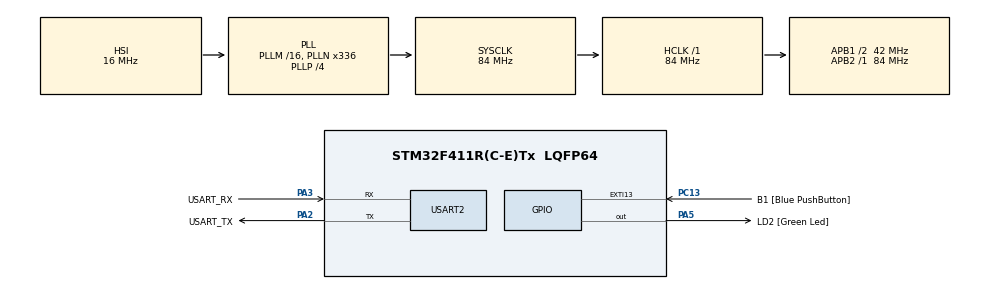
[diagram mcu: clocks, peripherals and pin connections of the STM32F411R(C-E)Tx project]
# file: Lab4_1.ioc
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FREERTOS.Tasks01=firstTask,24,128,StartFirstTask,Default,NULL,Dynamic,NULL,NULL
FREERTOS.configUSE_TIMERS=1
Mcu.Family=STM32F4
Mcu.Name=STM32F411R(C-E)Tx
Mcu.Package=LQFP64
NVIC.PriorityGroup=NVIC_PRIORITYGROUP_4
NVIC.TIM4_IRQn=true\:15\:0\:false\:false\:true\:false\:false\:true
NVIC.TimeBase=TIM4_IRQn
NVIC.TimeBaseIP=TIM4
PA13.GPIO_Label=TMS
PA13.Mode=Serial_Wire
PA13.Signal=SYS_JTMS-SWDIO
PA14.GPIO_Label=TCK
PA14.Mode=Serial_Wire
PA14.Signal=SYS_JTCK-SWCLK
PA2.GPIO_Label=USART_TX
PA2.Mode=Asynchronous
PA2.Signal=USART2_TX
PA3.GPIO_Label=USART_RX
PA3.Mode=Asynchronous
PA3.Signal=USART2_RX
PA5.GPIO_Label=LD2 [Green Led]
PA5.Signal=GPIO_Output
PB3.GPIO_Label=SWO
PB3.Signal=SYS_JTDO-SWO
PC13-ANTI_TAMP.GPIO_Label=B1 [Blue PushButton]
PC13-ANTI_TAMP.GPIO_ModeDefaultEXTI=GPIO_MODE_IT_FALLING
PC13-ANTI_TAMP.Signal=GPXTI13
PC14-OSC32_IN.Mode=LSE-External-Oscillator
PC14-OSC32_IN.Signal=RCC_OSC32_IN
PC15-OSC32_OUT.Mode=LSE-External-Oscillator
PC15-OSC32_OUT.Signal=RCC_OSC32_OUT
PH0\ -\ OSC_IN.Mode=HSE-External-Clock-Source
PH0\ -\ OSC_IN.Signal=RCC_OSC_IN
PH1\ -\ OSC_OUT.Mode=HSE-External-Clock-Source
PH1\ -\ OSC_OUT.Signal=RCC_OSC_OUT
ProjectManager.HeapSize=0x200
ProjectManager.StackSize=0x400
ProjectManager.TargetToolchain=STM32CubeIDE
RCC.48MHZClocksFreq_Value=84000000
RCC.AHBFreq_Value=84000000
RCC.APB1CLKDivider=RCC_HCLK_DIV2
RCC.APB1Freq_Value=42000000
RCC.APB1TimFreq_Value=84000000
RCC.APB2Freq_Value=84000000
RCC.APB2TimFreq_Value=84000000
RCC.CortexFreq_Value=84000000
RCC.FLatency-AdvancedSettings=FLASH_LATENCY_2
RCC.HCLKFreq_Value=84000000
RCC.HSE_VALUE=8000000
RCC.HSI_VALUE=16000000
RCC.PLLN=336
RCC.PLLP=RCC_PLLP_DIV4
RCC.SYSCLKFreq_VALUE=84000000
RCC.SYSCLKSource=RCC_SYSCLKSOURCE_PLLCLK
RCC.VCOOutputFreq_Value=336000000
USART2.VirtualMode=VM_ASYNC
VP_FREERTOS_VS_CMSIS_V2.Mode=CMSIS_V2
VP_SYS_VS_tim4.Mode=TIM4
board=NUCLEO-F411RE

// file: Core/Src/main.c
/* USER CODE BEGIN Header */
/**
 ******************************************************************************
 * @file           : main.c
 * @brief          : Main program body
 ******************************************************************************
 * @attention
 *
 * Copyright (c) 2022 STMicroelectronics.
 * All rights reserved.
 *
 * This software is licensed under terms that can be found in the LICENSE file
 * in the root directory of this software component.
 * If no LICENSE file comes with this software, it is provided AS-IS.
 *
 ******************************************************************************
 */
/* USER CODE END Header */
#include "main.h"
#include "cmsis_os.h"

UART_HandleTypeDef huart2;

/* Definitions for firstTask */
osThreadId_t firstTaskHandle;
const osThreadAttr_t firstTask_attributes = { .name = "firstTask", .stack_size =
		128 * 4, .priority = (osPriority_t) osPriorityNormal, };
/* USER CODE BEGIN PV */
osThreadId_t secondTaskHandle;
osThreadId_t thirdTaskHandle;
void secondTask(void *argument);
void thirdTask(void *argument);
/* USER CODE END PV */

void SystemClock_Config(void);
static void MX_GPIO_Init(void);
static void MX_USART2_UART_Init(void);
void StartFirstTask(void *argument);

int main(void) {

	/* MCU Configuration--------------------------------------------------------*/

	/* Reset of all peripherals, Initializes the Flash interface and the Systick. */
	HAL_Init();

	/* Configure the system clock */
	SystemClock_Config();

	/* Initialize all configured peripherals */
	MX_GPIO_Init();
	MX_USART2_UART_Init();

	/* Init scheduler */
	osKernelInitialize();

	/* Create the thread(s) */
	/* creation of firstTask */
	firstTaskHandle = osThreadNew(StartFirstTask, NULL, &firstTask_attributes);

	/* USER CODE BEGIN RTOS_THREADS */
	/* add threads, ... */
	const osThreadAttr_t secondTask_attributes = { .name = "secondTask",
			.priority = (osPriority_t) osPriorityNormal, .stack_size = 128 };
	secondTaskHandle = osThreadNew(secondTask, NULL, &secondTask_attributes);

	const osThreadAttr_t thirdTask_attributes = { .name = "thirdTask",
			.priority = (osPriority_t) osPriorityNormal, .stack_size = 128 };
	thirdTaskHandle = osThreadNew(thirdTask, NULL, &thirdTask_attributes);

	/* USER CODE END RTOS_THREADS */

	/* Start scheduler */
	osKernelStart();

	/* We should never get here as control is now taken by the scheduler */
	/* Infinite loop */
	while (1) {

	}
}

void SystemClock_Config(void) {
	RCC_OscInitTypeDef RCC_OscInitStruct = { 0 };
	RCC_ClkInitTypeDef RCC_ClkInitStruct = { 0 };

	/** Configure the main internal regulator output voltage
	 */
	__HAL_RCC_PWR_CLK_ENABLE();
	__HAL_PWR_VOLTAGESCALING_CONFIG(PWR_REGULATOR_VOLTAGE_SCALE1);
	/** Initializes the RCC Oscillators according to the specified parameters
	 * in the RCC_OscInitTypeDef structure.
	 */
	RCC_OscInitStruct.OscillatorType = RCC_OSCILLATORTYPE_HSI;
	RCC_OscInitStruct.HSIState = RCC_HSI_ON;
	RCC_OscInitStruct.HSICalibrationValue = RCC_HSICALIBRATION_DEFAULT;
	RCC_OscInitStruct.PLL.PLLState = RCC_PLL_ON;
	RCC_OscInitStruct.PLL.PLLSource = RCC_PLLSOURCE_HSI;
	RCC_OscInitStruct.PLL.PLLM = 16;
	RCC_OscInitStruct.PLL.PLLN = 336;
	RCC_OscInitStruct.PLL.PLLP = RCC_PLLP_DIV4;
	RCC_OscInitStruct.PLL.PLLQ = 4;
	if (HAL_RCC_OscConfig(&RCC_OscInitStruct) != HAL_OK) {
		Error_Handler();
	}
	/** Initializes the CPU, AHB and APB buses clocks
	 */
	RCC_ClkInitStruct.ClockType = RCC_CLOCKTYPE_HCLK | RCC_CLOCKTYPE_SYSCLK
			| RCC_CLOCKTYPE_PCLK1 | RCC_CLOCKTYPE_PCLK2;
	RCC_ClkInitStruct.SYSCLKSource = RCC_SYSCLKSOURCE_PLLCLK;
	RCC_ClkInitStruct.AHBCLKDivider = RCC_SYSCLK_DIV1;
	RCC_ClkInitStruct.APB1CLKDivider = RCC_HCLK_DIV2;
	RCC_ClkInitStruct.APB2CLKDivider = RCC_HCLK_DIV1;

	if (HAL_RCC_ClockConfig(&RCC_ClkInitStruct, FLASH_LATENCY_2) != HAL_OK) {
		Error_Handler();
	}
}

static void MX_USART2_UART_Init(void) {

	huart2.Instance = USART2;
	huart2.Init.BaudRate = 115200;
	huart2.Init.WordLength = UART_WORDLENGTH_8B;
	huart2.Init.StopBits = UART_STOPBITS_1;
	huart2.Init.Parity = UART_PARITY_NONE;
	huart2.Init.Mode = UART_MODE_TX_RX;
	huart2.Init.HwFlowCtl = UART_HWCONTROL_NONE;
	huart2.Init.OverSampling = UART_OVERSAMPLING_16;
	if (HAL_UART_Init(&huart2) != HAL_OK) {
		Error_Handler();
	}

}

static void MX_GPIO_Init(void) {
	GPIO_InitTypeDef GPIO_InitStruct = { 0 };

	/* GPIO Ports Clock Enable */
	__HAL_RCC_GPIOC_CLK_ENABLE();
	__HAL_RCC_GPIOH_CLK_ENABLE();
	__HAL_RCC_GPIOA_CLK_ENABLE();
	__HAL_RCC_GPIOB_CLK_ENABLE();

	/*Configure GPIO pin Output Level */
	HAL_GPIO_WritePin(LD2_GPIO_Port, LD2_Pin, GPIO_PIN_RESET);

	/*Configure GPIO pin : B1_Pin */
	GPIO_InitStruct.Pin = B1_Pin;
	GPIO_InitStruct.Mode = GPIO_MODE_IT_FALLING;
	GPIO_InitStruct.Pull = GPIO_NOPULL;
	HAL_GPIO_Init(B1_GPIO_Port, &GPIO_InitStruct);

	/*Configure GPIO pin : LD2_Pin */
	GPIO_InitStruct.Pin = LD2_Pin;
	GPIO_InitStruct.Mode = GPIO_MODE_OUTPUT_PP;
	GPIO_InitStruct.Pull = GPIO_NOPULL;
	GPIO_InitStruct.Speed = GPIO_SPEED_FREQ_LOW;
	HAL_GPIO_Init(LD2_GPIO_Port, &GPIO_InitStruct);

}

/* USER CODE BEGIN 4 */
void secondTask(void *arg) {
	for (;;) {
		HAL_GPIO_TogglePin(GPIOA, GPIO_PIN_5);
		osDelay(18);
	}
	vTaskDelete(NULL);
}

void thirdTask(void *arg) {
	char ch = 'B';
	while (1) {
		HAL_UART_Transmit(&huart2, &ch, 1, 1000);
		osDelay(128);
	}
	vTaskDelete(NULL);
}

/* USER CODE END 4 */

void StartFirstTask(void *argument) {
	/* USER CODE BEGIN 5 */
	/* Infinite loop */
	char ch = 'A';
	while (1) {
		HAL_UART_Transmit(&huart2, &ch, 1, 1000);
		osDelay(50);
	}
	vTaskDelete(NULL);
	/* USER CODE END 5 */
}

void HAL_TIM_PeriodElapsedCallback(TIM_HandleTypeDef *htim) {
	if (htim->Instance == TIM4) {
		HAL_IncTick();
	}
}

void Error_Handler(void) {
	__disable_irq();
	while (1) {
	}
}
